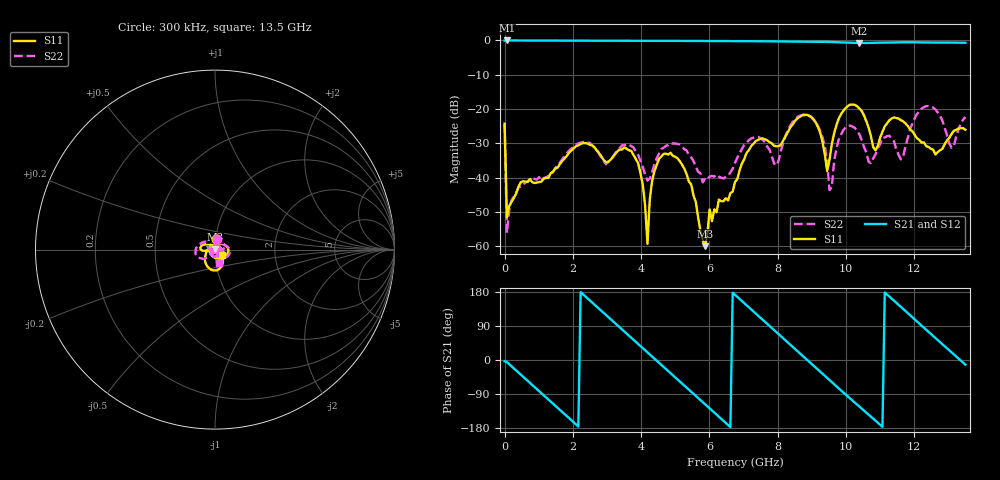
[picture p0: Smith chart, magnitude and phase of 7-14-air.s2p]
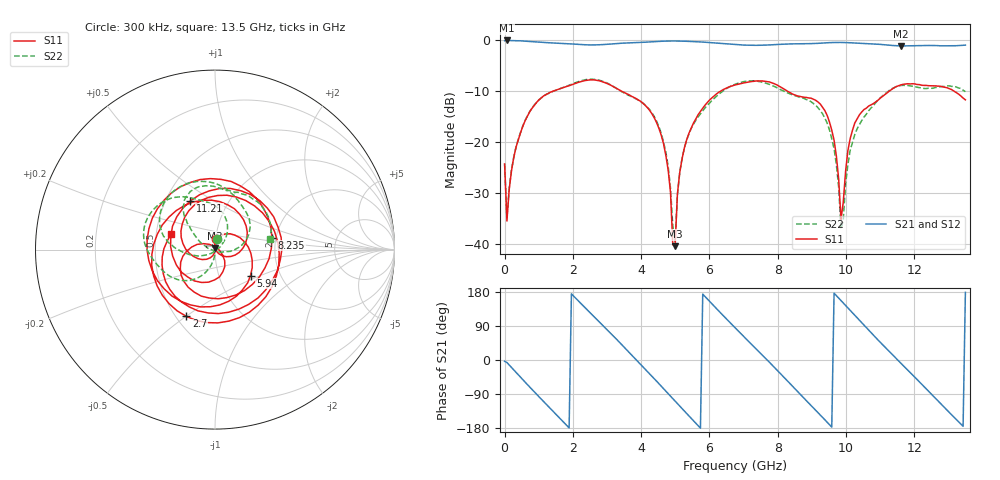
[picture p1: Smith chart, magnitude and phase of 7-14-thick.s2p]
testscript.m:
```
air_file = '7-14-air.s2p';
mut_file = '7-14-thick.s2p';
epsilon = 2.4;
mu = 1;
thickness = 20e-3;

[a11,a21,a12,a22,frequency] = s2pToComplexSParam(air_file,209);
[m11,m21,m12,m22,~] = s2pToComplexSParam(mut_file,209);
lengthofdata = length(frequency);
lengthoffft = 8000;
time_air11=ifft(a11,lengthoffft);
time_air21=ifft(a21,lengthoffft);
time_air12=ifft(a12,lengthoffft);
time_air22=ifft(a22,lengthoffft);

time_mut11=ifft(m11,lengthoffft);
time_mut21=ifft(m21,lengthoffft);
time_mut12=ifft(m12,lengthoffft);
time_mut22=ifft(m22,lengthoffft);
%% Time gating
[tt,c1]=max(abs(time_air21));
t=zeros(length(time_air21),1);
t(:,1)=1:1:length(t);
win_length = 250000;
t_win=exp(-(t-c1).^2/win_length);
%{
figure(2)
plot(t,t_win,'k--','linewidth',2)
hold on
plot(t,abs(time_air11)/max(abs(time_air11)),t,abs(time_air21)/max(abs(time_air21)))
legend('window','air11','air21')
xlim([(c1 - 1000) (c1 + 1000)])
%}
time_air11_filter=t_win.*time_air11;
time_air21_filter=t_win.*time_air21;
time_air12_filter=t_win.*time_air12;
time_air22_filter=t_win.*time_air22;
time_med11_filter=t_win.*time_mut11;
time_med21_filter=t_win.*time_mut21;
time_med12_filter=t_win.*time_mut12;
time_med22_filter=t_win.*time_mut22;

temp_air11=fft(time_air11_filter);
temp_air21=fft(time_air21_filter);
temp_air12=fft(time_air12_filter);
temp_air22=fft(time_air22_filter);

temp_med11=fft(time_med11_filter);
temp_med21=fft(time_med21_filter);
temp_med12=fft(time_med12_filter);
temp_med22=fft(time_med22_filter);

filtered_air11=temp_air11(1:lengthofdata);
filtered_air21=temp_air21(1:lengthofdata);
filtered_air12=temp_air12(1:lengthofdata);
filtered_air22=temp_air22(1:lengthofdata);
filtered_med11=temp_med11(1:lengthofdata);
filtered_med21=temp_med21(1:lengthofdata);
filtered_med12=temp_med12(1:lengthofdata);
filtered_med22=temp_med22(1:lengthofdata);
beta=2*pi*frequency/c0;
s11=filtered_med11./filtered_air11.*exp(-1i*beta*thickness);
s21=filtered_med21./filtered_air21.*exp(-1i*beta*thickness);
s12=filtered_med12./filtered_air12.*exp(-1i*beta*thickness);
s22=filtered_med22./filtered_air22.*exp(-1i*beta*thickness);

[theory11,theory21,theory12,theory22] = generateSParamters(epsilon,mu,thickness,frequency);
%[theory11,theory12] = generateSParamters2(epsilon,mu,thickness,frequency);
figure
subplot(2,2,1)
%yyaxis left
plot(frequency/1e9, abs(a11),frequency/1e9, abs(filtered_air11))%,frequency/1e9, abs(s11))
xlabel('frequency')
%legend('measured', 'filtered','final')
title('Air S11')
grid on
subplot(2,2,2)
%yyaxis left
plot(frequency/1e9, abs(m11),frequency/1e9, abs(filtered_med11))%,frequency/1e9, angle(s11))
xlabel('frequency')
legend('measured', 'filtered','Location','eastoutside')
title('HDPE S11')
grid on
subplot(2,2,3)
%yyaxis left
plot(frequency/1e9, abs(a12),frequency/1e9, abs(filtered_air12))%,frequency/1e9, abs(s12))
xlabel('frequency')
title('Air S12')
grid on
subplot(2,2,4)
%yyaxis left
plot(frequency/1e9, abs(m12),frequency/1e9, abs(filtered_med12))%,frequency/1e9, abs(s12))
legend('measured', 'filtered','Location','eastoutside')
xlabel('frequency')
title('HDPE S12')
grid on
```
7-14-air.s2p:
!Agilent Technologies,N5230C,MY48100320,A.08.04.10
!Agilent N5230C: A.08.04.10
!Date: Friday, July 15, 2016 04:10:22
!Correction: S11(Full 2 Port(1,2))
!S21(Full 2 Port(1,2))
!S12(Full 2 Port(1,2))
!S22(Full 2 Port(1,2))
!S2P File: Measurements: S11, S21, S12, S22:
# Hz S  dB  R 50
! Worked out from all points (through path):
!   201 points, 300 kHz to 13.5 GHz, reference 50 ohm
!   highest |S21| = -0.01 dB at 67.8 MHz (marker M1); lowest = -0.8 dB at 10.4 GHz (marker M2)
!   group delay of S21, straight-line fit = 225 ps
!   lowest |S11| = -59.9 dB at 5.873 GHz (marker M3), VSWR 1.00, Z = 50 + j0.0954 ohm
!   |S11| at or under -10 dB: start of sweep to end of sweep
!   |S22| runs from -56.1 to -19.1 dB; largest |S21 - S12| = 0.0063
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300000  -24.24 83.4  -0.07 -3.4  -0.04 -3.7  -24.33 80.3
6.77985e7  -51.61 68.2  -0.01 -5.5  -0.01 -5.6  -56.06 58.3
2.092754e9  -30.83 -127.9  -0.07 -170.1  -0.07 -170.1  -30.42 -36.5
3.375225e9  -31.81 -53.2  -0.10 85.9  -0.10 85.9  -31.33 28.9
4.5227e9  -34.52 79.9  -0.13 -7.2  -0.13 -7.2  -33.01 102.0
5.87267e9  -59.95 108.3  -0.16 -116.7  -0.16 -116.8  -40.16 -137.2
6.75015e9  -41.22 129.3  -0.20 172.0  -0.20 172.0  -35.66 -11.4
8.775105e9  -21.80 175.7  -0.37 7.4  -0.37 7.5  -21.50 -13.2
1.039507e10  -19.80 -115.4  -0.75 -122.9  -0.74 -123.0  -27.35 -3.8
1.215003e10  -28.98 -134.7  -0.57 96.0  -0.56 95.9  -20.68 -148.3
1.35e10  -26.02 -33.6  -0.67 -12.3  -0.66 -12.4  -22.29 -71.7
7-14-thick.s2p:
!Agilent Technologies,N5230C,MY48100320,A.08.04.10
!Agilent N5230C: A.08.04.10
!Date: Friday, July 15, 2016 04:18:48
!Correction: S11(Full 2 Port(1,2))
!S21(Full 2 Port(1,2))
!S12(Full 2 Port(1,2))
!S22(Full 2 Port(1,2))
!S2P File: Measurements: S11, S21, S12, S22:
# Hz S  dB  R 50
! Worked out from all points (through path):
!   201 points, 300 kHz to 13.5 GHz, reference 50 ohm
!   highest |S21| = -0.01 dB at 67.8 MHz (marker M1); lowest = -1.1 dB at 11.61 GHz (marker M2)
!   group delay of S21, straight-line fit = 260 ps
!   lowest |S11| = -40.5 dB at 4.995 GHz (marker M3), VSWR 1.02, Z = 50 + j0.946 ohm
!   |S11| at or under -10 dB: start of sweep to 1.416 GHz; 3.429 GHz to 6.324 GHz (2.895 GHz wide, 59.4 % of centre); 8.289 GHz to 11.27 GHz (2.978 GHz wide, 30.5 % of centre)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
!   |S22| runs from -39.6 to -7.6 dB; largest |S21 - S12| = 0.0064
!   S11 on the Smith chart (normalised r, x): 300 kHz: 1.01, +0.12; 2.7 GHz: 0.56, -0.50; 5.94 GHz: 1.42, -0.44; 8.235 GHz: 1.90, +0.28; 11.21 GHz: 0.66, +0.40; 13.5 GHz: 0.60, +0.11
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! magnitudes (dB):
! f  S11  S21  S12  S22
! 300 kHz  -24.3  -0.1  0.0  -24.3
! 67.8 MHz  -35.5  0.0  0.0  -35.0
! 2.7 GHz  -7.9  -0.9  -0.9  -7.7
! 4.995 GHz  -40.5  -0.1  -0.1  -39.6
! 5.94 GHz  -12.2  -0.4  -0.4  -12.8
! 6.75 GHz  -8.8  -0.8  -0.8  -8.6
! 8.235 GHz  -9.8  -0.7  -0.7  -10.2
! 9.855 GHz  -35.2  -0.4  -0.4  -37.1
! 11.21 GHz  -10.3  -0.9  -0.9  -10.2
! 11.61 GHz  -8.8  -1.1  -1.1  -8.9
! 13.5 GHz  -11.7  -0.9  -0.9  -10.1
